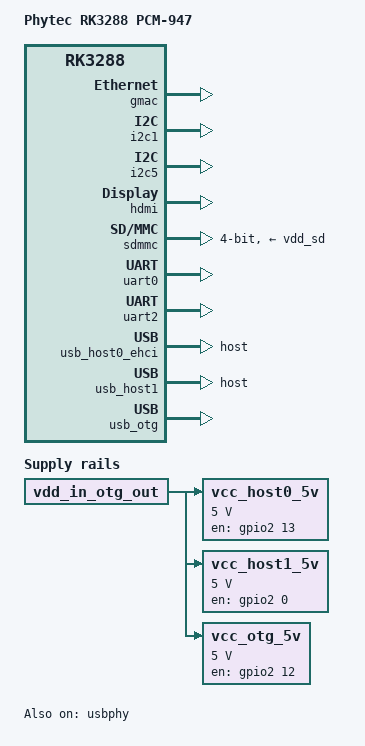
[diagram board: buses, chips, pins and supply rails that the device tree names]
/*
 * Copyright (C) 2019 PHYTEC Messtechnik GmbH
 * Author: Wadim Egorov <w.egorov@phytec.de>
 *
 * This program is free software; you can redistribute it and/or modify
 * it under the terms of the GNU General Public License version 2 as
 * published by the Free Software Foundation.
 */

/dts-v1/;

#include <dt-bindings/input/input.h>
#include <dt-bindings/leds/leds-pca9532.h>
#include "rk3288-phycore-som.dtsi"

/ {
	model = "Phytec RK3288 PCM-947";
	compatible = "phytec,rk3288-wbox", "phytec,rk3288-phycore-som", "rockchip,rk3288";

	vcc_host0_5v: usb-host0-regulator {
		compatible = "regulator-fixed";
	};

	vcc_host1_5v: usb-host1-regulator {
		compatible = "regulator-fixed";
	};

	vcc_otg_5v: usb-otg-regulator {
		compatible = "regulator-fixed";
	};
};


/* Ethernet */
&gmac {
	status = "okay";
};

/* I2C Busses */
&pinctrl {
	pcf8523 {
		i2c_rtc_int: i2c-rtc-int {
			rockchip,pins = <5 10 RK_FUNC_GPIO &pcfg_pull_up>;
		};
	};
};

&i2c1 {
	status = "okay";

	i2c_rtc: rtc@68 {
		compatible = "rv4162";
		reg = <0x68>;
		pinctrl-names = "default";
		pinctrl-0 = <&i2c_rtc_int>;
		interrupt-parent = <&gpio5>;
		interrupts = <10 0>;
		status = "disabled";
	};
};

&i2c5 {
	status = "okay";
};

/* Display & Video */
&hdmi {
	status = "okay";
};

/* MMC */
&pinctrl {
	pcfg_pull_up_drv_12ma: pcfg-pull-up-drv-12ma {
		bias-pull-up;
		drive-strength = <12>;
	};

	sdmmc {
		/*
		* Default drive strength isn't enough to achieve even
		* high-speed mode on pcm-947 board so bump up to 12 mA.
		*/
		sdmmc_bus4: sdmmc-bus4 {
			rockchip,pins = <6 16 RK_FUNC_1 &pcfg_pull_up_drv_12ma>,
					<6 17 RK_FUNC_1 &pcfg_pull_up_drv_12ma>,
					<6 18 RK_FUNC_1 &pcfg_pull_up_drv_12ma>,
					<6 19 RK_FUNC_1 &pcfg_pull_up_drv_12ma>;
		};

		sdmmc_clk: sdmmc-clk {
			rockchip,pins = <6 20 RK_FUNC_1 &pcfg_pull_none_12ma>;
		};

		sdmmc_cmd: sdmmc-cmd {
			rockchip,pins = <6 21 RK_FUNC_1 &pcfg_pull_up_drv_12ma>;
		};

		sdmmc_pwr: sdmmc-pwr {
			rockchip,pins = <7 11 RK_FUNC_GPIO &pcfg_pull_none>;
		};
	};
};

&sdmmc {
	status = "okay";
	bus-width = <4>;
	cap-mmc-highspeed;
	cap-sd-highspeed;
	card-detect-delay = <200>;
	disable-wp;
	num-slots = <1>;
	pinctrl-names = "default";
	pinctrl-0 = <&sdmmc_clk &sdmmc_cmd &sdmmc_cd &sdmmc_bus4>;
	sd-uhs-sdr12;
	sd-uhs-sdr25;
	sd-uhs-sdr50;
	sd-uhs-sdr104;
	vmmc-supply = <&vdd_sd>;
	vqmmc-supply = <&vdd_io_sd>;
};

/* Power */
&vcc_host0_5v {
	gpio = <&gpio2 13 GPIO_ACTIVE_HIGH>;
	pinctrl-names = "default";
	pinctrl-0 = <&host0_vbus_drv>;
	regulator-name = "vcc_host0_5v";
	regulator-min-microvolt = <5000000>;
	regulator-max-microvolt = <5000000>;
	regulator-always-on;
	enable-active-high;
	vin-supply = <&vdd_in_otg_out>;
};

&vcc_host1_5v {
	gpio = <&gpio2 0 GPIO_ACTIVE_HIGH>;
	pinctrl-names = "default";
	pinctrl-0 = <&host1_vbus_drv>;
	regulator-name = "vcc_host1_5v";
	regulator-min-microvolt = <5000000>;
	regulator-max-microvolt = <5000000>;
	regulator-always-on;
	enable-active-high;
	vin-supply = <&vdd_in_otg_out>;
};

&vcc_otg_5v {
	gpio = <&gpio2 12 GPIO_ACTIVE_HIGH>;
	pinctrl-names = "default";
	pinctrl-0 = <&otg_vbus_drv>;
	regulator-name = "vcc_otg_5v";
	regulator-min-microvolt = <5000000>;
	regulator-max-microvolt = <5000000>;
	regulator-always-on;
	enable-active-high;
	vin-supply = <&vdd_in_otg_out>;
};

/* UART */
&uart0 {
	status = "okay";
	pinctrl-names = "default";
	pinctrl-0 = <&uart0_xfer &uart0_cts &uart0_rts>;
};

&uart2 {
	status = "okay";
};

/* USB */
&pinctrl {
	usb_host {
		host0_vbus_drv: host0-vbus-drv {
			rockchip,pins = <2 13 RK_FUNC_GPIO &pcfg_pull_none>;
		};

		host1_vbus_drv: host1-vbus-drv {
			rockchip,pins = <2 0 RK_FUNC_GPIO &pcfg_pull_none>;
		};
	};

	usb_otg {
		otg_vbus_drv: otg-vbus-drv {
			rockchip,pins = <2 12 RK_FUNC_GPIO &pcfg_pull_none>;
		};
	};
};

&usbphy {
	status = "okay";
};

&usb_host0_ehci {
	dr_mode = "host";
	status = "okay";
};

&usb_host1 {
	dr_mode = "host";
	status = "okay";
};

&usb_hsic {
	status = "disabled";
};

&usb_otg {
	status = "okay";
};
